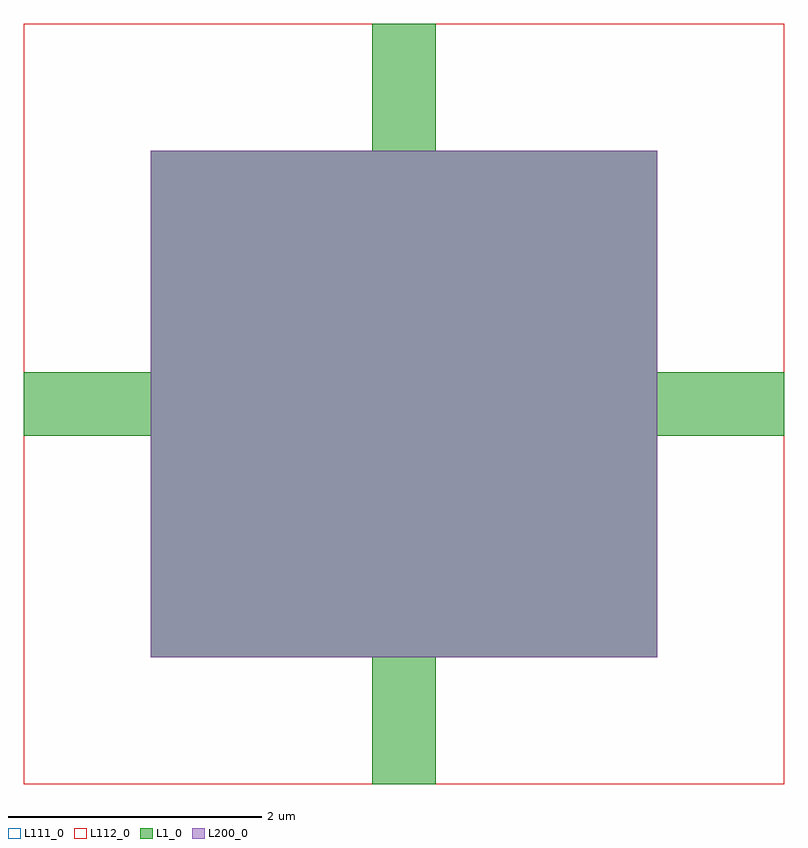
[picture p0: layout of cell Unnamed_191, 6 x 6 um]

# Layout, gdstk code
import gdstk
lib = gdstk.Library(unit=1e-6, precision=1e-09)
def R(c, l, rs):  # rectangles x0, y0, x1, y1
    for r in rs: c.add(gdstk.rectangle(r[:2], r[2:], *l))
L1_0 = (1, 0)
L111_0 = (111, 0)
L112_0 = (112, 0)
L200_0 = (200, 0)

unnamed_190 = lib.new_cell('Unnamed_190')
R(unnamed_190, L1_0, [(1.75,-1,2.25,0), (-1,1.75,0,2.25), (4,1.75,5,2.25), (1.75,4,2.25,5)])

unnamed_192 = lib.new_cell('Unnamed_192')
R(unnamed_192, L1_0, [(1.75,-1,2.25,0), (1.75,-1,2.25,0), (1.75,-1,2.25,0), (1.75,-1,2.25,0), (0,0,4,4), (-1,1.75,0,2.25), (-1,1.75,0,2.25), (4,1.75,5,2.25), (4,1.75,5,2.25), (4,1.75,5,2.25), (1.75,4,2.25,5), (1.75,4,2.25,5), (1.75,4,2.25,5), (1.75,4,2.25,5), (1.75,4,2.25,5)])

unnamed_193 = lib.new_cell('Unnamed_193')
R(unnamed_193, L111_0, [(-1,-1,5,5)])

unnamed_194 = lib.new_cell('Unnamed_194')
R(unnamed_194, L112_0, [(-1,-1,5,5)])

unnamed_195 = lib.new_cell('Unnamed_195')
R(unnamed_195, L200_0, [(0,0,4,4)])

unnamed_191 = lib.new_cell('Unnamed_191')
unnamed_191.add(gdstk.Reference(unnamed_190, (0,0)))
unnamed_191.add(gdstk.Reference(unnamed_192, (0,0)))
unnamed_191.add(gdstk.Reference(unnamed_193, (0,0)))
unnamed_191.add(gdstk.Reference(unnamed_194, (0,0)))
unnamed_191.add(gdstk.Reference(unnamed_195, (0,0)))

lib.write_gds('Unnamed_191.gds')
